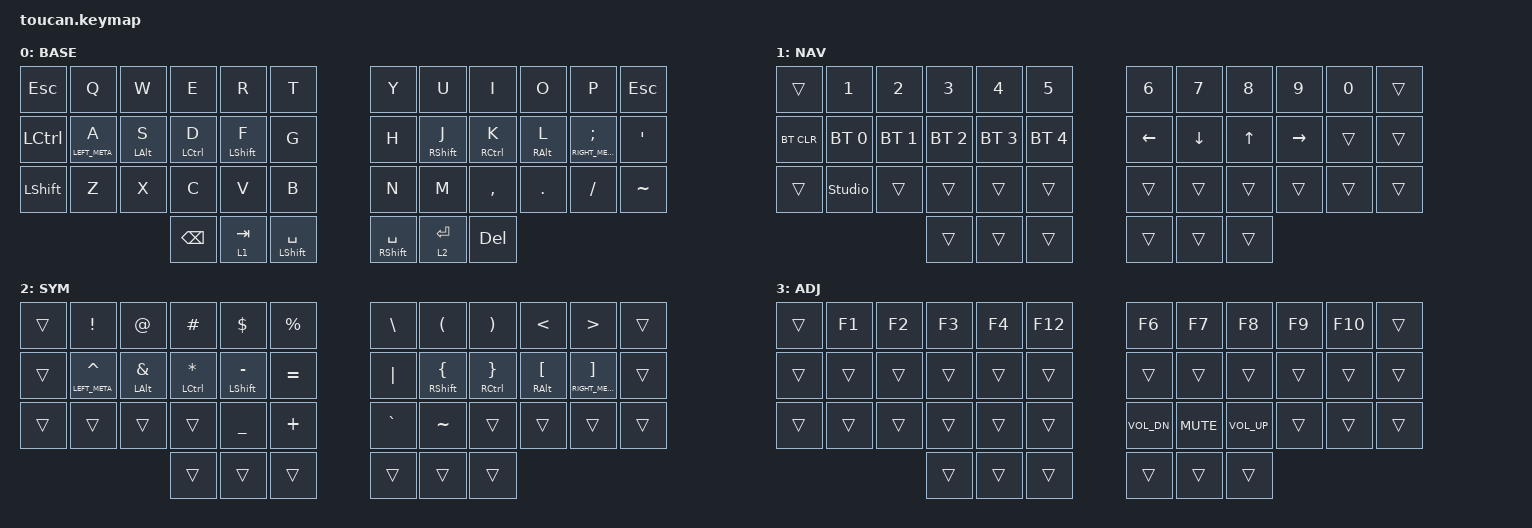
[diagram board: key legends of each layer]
#include <behaviors.dtsi>
#include <dt-bindings/zmk/bt.h>
#include <dt-bindings/zmk/keys.h>

#define BASE 0
#define NAV  1
#define SYM  2
#define ADJ  3

/ {
    conditional_layers {
        compatible = "zmk,conditional-layers";

        tri_layer {
            if-layers = <1 2>;
            then-layer = <3>;
        };
    };

    behaviors {
        hm: hm {
            compatible = "zmk,behavior-hold-tap";
            label = "HM";
            bindings = <&kp>, <&kp>;

            #binding-cells = <2>;
            tapping-term-ms = <280>;
            quick-tap-ms = <150>;
            require-prior-idle-ms = <150>;
            flavor = "balanced";
        };

        hl: hl {
            compatible = "zmk,behavior-hold-tap";
            label = "HL";
            bindings = <&mo>, <&kp>;

            #binding-cells = <2>;
            tapping-term-ms = <280>;
            quick-tap-ms = <150>;
            require-prior-idle-ms = <150>;
            flavor = "balanced";
        };
    };

    keymap {
        compatible = "zmk,keymap";

        base {
            display-name = "BASE";
            bindings = <
&kp ESCAPE  &kp Q            &kp W           &kp E        &kp R             &kp T                                                   &kp Y         &kp U              &kp I                &kp O            &kp P                &kp ESCAPE
&kp LCTRL   &hm LEFT_META A  &hm LEFT_ALT S  &hm LCTRL D  &hm LEFT_SHIFT F  &kp G                                                   &kp H         &hm RIGHT_SHIFT J  &hm RIGHT_CONTROL K  &hm RIGHT_ALT L  &hm RIGHT_META SEMI  &kp SQT
&kp LSHFT   &kp Z            &kp X           &kp C        &kp V             &kp B                                                   &kp N         &kp M              &kp COMMA            &kp DOT          &kp FSLH             &kp TILDE
                                                          &kp BACKSPACE     &hl 1 TAB  &hm LEFT_SHIFT SPACE  &hm RIGHT_SHIFT SPACE  &hl 2 RETURN  &kp DELETE
            >;
        };

        nav {
            display-name = "NAV";
            bindings = <
&trans      &kp N1          &kp N2        &kp N3        &kp N4        &kp N5                        &kp N6    &kp N7    &kp N8  &kp N9     &kp N0  &trans
&bt BT_CLR  &bt BT_SEL 0    &bt BT_SEL 1  &bt BT_SEL 2  &bt BT_SEL 3  &bt BT_SEL 4                  &kp LEFT  &kp DOWN  &kp UP  &kp RIGHT  &trans  &trans
&trans      &studio_unlock  &trans        &trans        &trans        &trans                        &trans    &trans    &trans  &trans     &trans  &trans
                                                        &trans        &trans        &trans  &trans  &trans    &trans
            >;
        };

        sym {
            display-name = "SYM";
            bindings = <
&trans  &kp EXCL             &kp AT             &kp HASH                   &kp DLLR              &kp PRCNT                  &kp BACKSLASH  &kp LPAR                    &kp RPAR                       &kp LT                      &kp GT                        &trans
&trans  &hm LEFT_META CARET  &hm LEFT_ALT AMPS  &hm LEFT_CONTROL ASTERISK  &hm LEFT_SHIFT MINUS  &kp EQUAL                  &kp PIPE       &hm RIGHT_SHIFT LEFT_BRACE  &hm RIGHT_CONTROL RIGHT_BRACE  &hm RIGHT_ALT LEFT_BRACKET  &hm RIGHT_META RIGHT_BRACKET  &trans
&trans  &trans               &trans             &trans                     &kp UNDERSCORE        &kp PLUS                   &kp GRAVE      &kp TILDE                   &trans                         &trans                      &trans                        &trans
                                                                           &trans                &trans     &trans  &trans  &trans         &trans
            >;
        };

        adj {
            display-name = "ADJ";
            bindings = <
&trans  &kp F1  &kp F2  &kp F3  &kp F4  &kp F12                  &kp F6        &kp F7      &kp F8        &kp F9  &kp F10  &trans
&trans  &trans  &trans  &trans  &trans  &trans                   &trans        &trans      &trans        &trans  &trans   &trans
&trans  &trans  &trans  &trans  &trans  &trans                   &kp C_VOL_DN  &kp C_MUTE  &kp C_VOL_UP  &trans  &trans   &trans
                                &trans  &trans   &trans  &trans  &trans        &trans
            >;
        };

        extra_1 { status = "reserved"; };

        extra_2 { status = "reserved"; };

        extra_3 { status = "reserved"; };
    };
};
